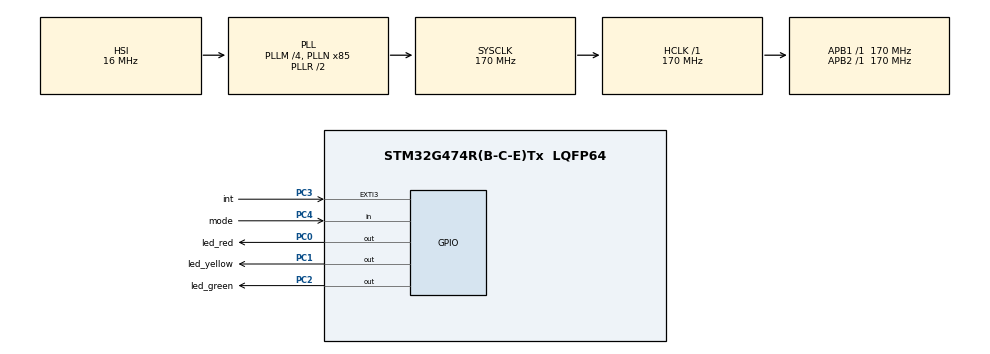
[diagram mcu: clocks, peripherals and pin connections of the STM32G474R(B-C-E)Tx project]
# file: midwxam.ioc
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Mcu.Family=STM32G4
Mcu.Name=STM32G474R(B-C-E)Tx
Mcu.Package=LQFP64
NVIC.EXTI3_IRQn=true\:0\:0\:false\:false\:true\:true\:true\:true
NVIC.PriorityGroup=NVIC_PRIORITYGROUP_4
PA13.GPIO_Label=T_SWDIO
PA13.Signal=SYS_JTMS-SWDIO
PA14.GPIO_Label=T_SWCLK
PA14.Signal=SYS_JTCK-SWCLK
PA2.GPIO_Label=LPUART1_TX [STLINKV3E_VCP_RX]
PA2.Signal=LPUART1_TX
PA3.GPIO_Label=LPUART1_RX [STLINKV3E_VCP_TX]
PA3.Signal=LPUART1_RX
PB3.GPIO_Label=T_SWO
PB3.Signal=SYS_JTDO-SWO
PC0.GPIO_Label=led_red
PC0.Signal=GPIO_Output
PC1.GPIO_Label=led_yellow
PC1.Signal=GPIO_Output
PC14-OSC32_IN.GPIO_Label=RCC_OSC32_IN
PC14-OSC32_IN.Signal=RCC_OSC32_IN
PC15-OSC32_OUT.GPIO_Label=RCC_OSC32_OUT
PC15-OSC32_OUT.Signal=RCC_OSC32_OUT
PC2.GPIO_Label=led_green
PC2.Signal=GPIO_Output
PC3.GPIO_Label=int
PC3.GPIO_ModeDefaultEXTI=GPIO_MODE_IT_FALLING
PC3.GPIO_PuPd=GPIO_PULLUP
PC3.Signal=GPXTI3
PC4.GPIO_Label=mode
PC4.GPIO_PuPd=GPIO_PULLUP
PC4.Signal=GPIO_Input
PF0-OSC_IN.GPIO_Label=RCC_OSC_IN
PF0-OSC_IN.Signal=RCC_OSC_IN
PF1-OSC_OUT.GPIO_Label=RCC_OSC_OUT
PF1-OSC_OUT.Signal=RCC_OSC_OUT
ProjectManager.HeapSize=0x200
ProjectManager.StackSize=0x400
ProjectManager.TargetToolchain=STM32CubeIDE
RCC.ADC12Freq_Value=170000000
RCC.ADC345Freq_Value=170000000
RCC.AHBFreq_Value=170000000
RCC.APB1Freq_Value=170000000
RCC.APB1TimFreq_Value=170000000
RCC.APB2Freq_Value=170000000
RCC.APB2TimFreq_Value=170000000
RCC.CortexFreq_Value=170000000
RCC.EXTERNAL_CLOCK_VALUE=12288000
RCC.HCLKFreq_Value=170000000
RCC.HSE_VALUE=24000000
RCC.HSI48_VALUE=48000000
RCC.HSI_VALUE=16000000
RCC.LSE_VALUE=32768
RCC.PLLM=RCC_PLLM_DIV4
RCC.PLLN=85
RCC.RTCClockSelection=RCC_RTCCLKSOURCE_LSE
RCC.SYSCLKFreq_VALUE=170000000
RCC.SYSCLKSource=RCC_SYSCLKSOURCE_PLLCLK
RCC.USBFreq_Value=170000000
RCC.VCOOutputFreq_Value=340000000
VP_SYS_VS_DBSignals.Mode=DisableDeadBatterySignals
board=NUCLEO-G474RE

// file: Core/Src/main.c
/* USER CODE BEGIN Header */
/**
  ******************************************************************************
  * @file           : main.c
  * @brief          : Main program body
  ******************************************************************************
  * @attention
  *
  * Copyright (c) 2026 STMicroelectronics.
  * All rights reserved.
  *
  * This software is licensed under terms that can be found in the LICENSE file
  * in the root directory of this software component.
  * If no LICENSE file comes with this software, it is provided AS-IS.
  *
  ******************************************************************************
  */
/* USER CODE END Header */
#include "main.h"

/* USER CODE BEGIN PV */
typedef enum {
    AUTO_MODE = 0,
    MANUAL_MODE
} SystemState;

// 定義自動模式下的 A, B, C 階段
typedef enum {
    CYCLE_A = 0,
    CYCLE_B,
    CYCLE_C
} AutoCycle;

// 系統狀態變數
volatile SystemState current_system_state = AUTO_MODE;
volatile uint8_t manual_light_state = 0; // 0: 紅燈, 1: 綠燈

// 防彈跳變數
volatile uint32_t last_exti_time = 0;
/* USER CODE END PV */

void SystemClock_Config(void);
static void MX_GPIO_Init(void);
/* USER CODE BEGIN PFP */
void Set_Traffic_Lights(uint8_t red, uint8_t yellow, uint8_t green);
void Handle_Auto_Mode(void);
void Handle_Manual_Mode(void);
/* USER CODE END PFP */

/* USER CODE BEGIN 0 */
void Set_Traffic_Lights(uint8_t red, uint8_t yellow, uint8_t green) {
    HAL_GPIO_WritePin(GPIOC, led_red_Pin, red ? GPIO_PIN_SET : GPIO_PIN_RESET);
    HAL_GPIO_WritePin(GPIOC, led_yellow_Pin, yellow ? GPIO_PIN_SET : GPIO_PIN_RESET);
    HAL_GPIO_WritePin(GPIOC, led_green_Pin, green ? GPIO_PIN_SET : GPIO_PIN_RESET);
}

// 可隨時被手動中斷打斷的延遲函式
uint8_t Interruptible_Delay(uint32_t delay_ms) {
    uint32_t start = HAL_GetTick();
    while (HAL_GetTick() - start < delay_ms) {
        if (current_system_state == MANUAL_MODE) {
            return 1; // 被中斷打斷
        }
        HAL_Delay(10);
    }
    return 0;
}

// EXTI3 中斷服務回呼函式 (PC3 按下時切換 自動/手動 模式)
void HAL_GPIO_EXTI_Callback(uint16_t GPIO_Pin) {
    if (GPIO_Pin == int_Pin) {
        uint32_t now = HAL_GetTick();
        if (now - last_exti_time > 200) { // 200ms 防彈跳
            last_exti_time = now;

            if (current_system_state == AUTO_MODE) {
                current_system_state = MANUAL_MODE;
                manual_light_state = 0; // 進入手動模式時預設為紅燈
            } else {
                current_system_state = AUTO_MODE;
            }
        }
    }
}

// 自動模式處理邏輯
void Handle_Auto_Mode(void) {
    static AutoCycle current_cycle = CYCLE_A;
    uint32_t green_time = 0, red_time = 0;
    uint32_t yellow_time = 1000; // 黃燈固定 1 秒

    switch (current_cycle) {
        case CYCLE_A: green_time = 5000; red_time = 5000; break;
        case CYCLE_B: green_time = 5000; red_time = 3000; break;
        case CYCLE_C: green_time = 3000; red_time = 5000; break;
    }

    // 綠燈
    Set_Traffic_Lights(0, 0, 1);
    if (Interruptible_Delay(green_time)) return;

    // 黃燈
    Set_Traffic_Lights(0, 1, 0);
    if (Interruptible_Delay(yellow_time)) return;

    // 紅燈
    Set_Traffic_Lights(1, 0, 0);
    if (Interruptible_Delay(red_time)) return;

    // 輪替下一個循環
    switch (current_cycle) {
        case CYCLE_A: current_cycle = CYCLE_B; break;
        case CYCLE_B: current_cycle = CYCLE_C; break;
        case CYCLE_C: current_cycle = CYCLE_A; break;
    }
}

// 手動模式處理邏輯 (支援按「下後放開」才切換紅綠燈)
void Handle_Manual_Mode(void) {
    // 記錄 PC4 的前一次狀態（假設按鈕使用 Pull-up，未按為 HIGH，按下為 LOW）
    static GPIO_PinState last_pc4_state = GPIO_PIN_SET;
    GPIO_PinState current_pc4_state = HAL_GPIO_ReadPin(GPIOC, mode_Pin);

    // 偵測「上升緣」：從按下 (LOW) 變成 放開 (SET) 的那一瞬間
    if (last_pc4_state == GPIO_PIN_RESET && current_pc4_state == GPIO_PIN_SET) {
        HAL_Delay(20); // 簡易彈跳過濾
        if (HAL_GPIO_ReadPin(GPIOC, mode_Pin) == GPIO_PIN_SET) {
            // 翻轉手動燈號狀態 (0 變 1，1 變 0)
            manual_light_state = !manual_light_state;
        }
    }
    // 更新上一次的按鈕狀態
    last_pc4_state = current_pc4_state;

    // 根據目前的 manual_light_state 輸出燈號
    if (manual_light_state == 0) {
        Set_Traffic_Lights(1, 0, 0); // 紅燈
    } else {
        Set_Traffic_Lights(0, 0, 1); // 綠燈
    }
}
/* USER CODE END 0 */

int main(void)
{

  /* MCU Configuration--------------------------------------------------------*/

  /* Reset of all peripherals, Initializes the Flash interface and the Systick. */
  HAL_Init();

  /* Configure the system clock */
  SystemClock_Config();

  /* Initialize all configured peripherals */
  MX_GPIO_Init();

  /* Infinite loop */
  /* USER CODE BEGIN WHILE */
  while (1)
  {
	  if (current_system_state == AUTO_MODE) {
      Handle_Auto_Mode();
  } else {
      Handle_Manual_Mode();
  }
  /* USER CODE END WHILE */
}
}
    /* USER CODE END WHILE */

void SystemClock_Config(void)
{
  RCC_OscInitTypeDef RCC_OscInitStruct = {0};
  RCC_ClkInitTypeDef RCC_ClkInitStruct = {0};

  /** Configure the main internal regulator output voltage
  */
  HAL_PWREx_ControlVoltageScaling(PWR_REGULATOR_VOLTAGE_SCALE1_BOOST);

  /** Initializes the RCC Oscillators according to the specified parameters
  * in the RCC_OscInitTypeDef structure.
  */
  RCC_OscInitStruct.OscillatorType = RCC_OSCILLATORTYPE_HSI;
  RCC_OscInitStruct.HSIState = RCC_HSI_ON;
  RCC_OscInitStruct.HSICalibrationValue = RCC_HSICALIBRATION_DEFAULT;
  RCC_OscInitStruct.PLL.PLLState = RCC_PLL_ON;
  RCC_OscInitStruct.PLL.PLLSource = RCC_PLLSOURCE_HSI;
  RCC_OscInitStruct.PLL.PLLM = RCC_PLLM_DIV4;
  RCC_OscInitStruct.PLL.PLLN = 85;
  RCC_OscInitStruct.PLL.PLLP = RCC_PLLP_DIV2;
  RCC_OscInitStruct.PLL.PLLQ = RCC_PLLQ_DIV2;
  RCC_OscInitStruct.PLL.PLLR = RCC_PLLR_DIV2;
  if (HAL_RCC_OscConfig(&RCC_OscInitStruct) != HAL_OK)
  {
    Error_Handler();
  }

  /** Initializes the CPU, AHB and APB buses clocks
  */
  RCC_ClkInitStruct.ClockType = RCC_CLOCKTYPE_HCLK|RCC_CLOCKTYPE_SYSCLK
                              |RCC_CLOCKTYPE_PCLK1|RCC_CLOCKTYPE_PCLK2;
  RCC_ClkInitStruct.SYSCLKSource = RCC_SYSCLKSOURCE_PLLCLK;
  RCC_ClkInitStruct.AHBCLKDivider = RCC_SYSCLK_DIV1;
  RCC_ClkInitStruct.APB1CLKDivider = RCC_HCLK_DIV1;
  RCC_ClkInitStruct.APB2CLKDivider = RCC_HCLK_DIV1;

  if (HAL_RCC_ClockConfig(&RCC_ClkInitStruct, FLASH_LATENCY_4) != HAL_OK)
  {
    Error_Handler();
  }
}

static void MX_GPIO_Init(void)
{
  GPIO_InitTypeDef GPIO_InitStruct = {0};

  /* GPIO Ports Clock Enable */
  __HAL_RCC_GPIOC_CLK_ENABLE();
  __HAL_RCC_GPIOF_CLK_ENABLE();
  __HAL_RCC_GPIOA_CLK_ENABLE();
  __HAL_RCC_GPIOB_CLK_ENABLE();

  /*Configure GPIO pin Output Level */
  HAL_GPIO_WritePin(GPIOC, led_red_Pin|led_yellow_Pin|led_green_Pin, GPIO_PIN_RESET);

  /*Configure GPIO pins : led_red_Pin led_yellow_Pin led_green_Pin */
  GPIO_InitStruct.Pin = led_red_Pin|led_yellow_Pin|led_green_Pin;
  GPIO_InitStruct.Mode = GPIO_MODE_OUTPUT_PP;
  GPIO_InitStruct.Pull = GPIO_NOPULL;
  GPIO_InitStruct.Speed = GPIO_SPEED_FREQ_LOW;
  HAL_GPIO_Init(GPIOC, &GPIO_InitStruct);

  /*Configure GPIO pin : int_Pin */
  GPIO_InitStruct.Pin = int_Pin;
  GPIO_InitStruct.Mode = GPIO_MODE_IT_FALLING;
  GPIO_InitStruct.Pull = GPIO_PULLUP;
  HAL_GPIO_Init(int_GPIO_Port, &GPIO_InitStruct);

  /*Configure GPIO pins : LPUART1_TX_Pin LPUART1_RX_Pin */
  GPIO_InitStruct.Pin = LPUART1_TX_Pin|LPUART1_RX_Pin;
  GPIO_InitStruct.Mode = GPIO_MODE_AF_PP;
  GPIO_InitStruct.Pull = GPIO_NOPULL;
  GPIO_InitStruct.Speed = GPIO_SPEED_FREQ_LOW;
  GPIO_InitStruct.Alternate = GPIO_AF12_LPUART1;
  HAL_GPIO_Init(GPIOA, &GPIO_InitStruct);

  /*Configure GPIO pin : mode_Pin */
  GPIO_InitStruct.Pin = mode_Pin;
  GPIO_InitStruct.Mode = GPIO_MODE_INPUT;
  GPIO_InitStruct.Pull = GPIO_PULLUP;
  HAL_GPIO_Init(mode_GPIO_Port, &GPIO_InitStruct);

  /* EXTI interrupt init*/
  HAL_NVIC_SetPriority(EXTI3_IRQn, 0, 0);
  HAL_NVIC_EnableIRQ(EXTI3_IRQn);

}

void Error_Handler(void)
{
  __disable_irq();
  while (1)
  {
  }
}
